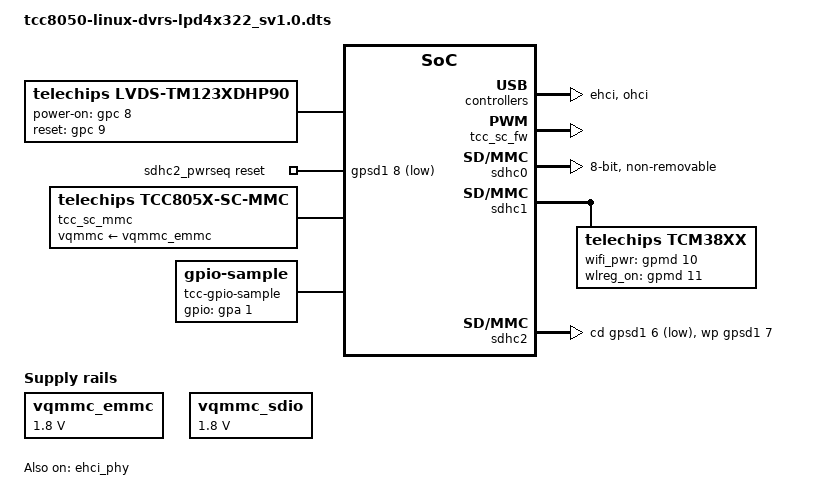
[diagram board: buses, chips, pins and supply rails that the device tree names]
// SPDX-License-Identifier: (GPL-2.0-or-later OR MIT)
/*
* Copyright (C) Telechips Inc.
* Device tree for Telechips TCC8050 DVRS board
*/

#ifndef DT_OVERLAY
/dts-v1/;
#endif

#include "tcc8050-linux-dvrs.dtsi"
#include "tcc8050-linux-avn-display.dtsi"

/ {
	/* Describe here after remove this statement if you have something to be override. */
	tm123xdhp90 {
		compatible = "telechips,lvds-tm123xdhp90";
		status = "okay";
		lvds0 = <&lvds_phy>;
		power-on-gpios = <&gpc 8 0>;   // LCD_ON
		reset-gpios = <&gpc 9 0>;    // LCD_RST
		/*
			 display-on-gpios = ;    // LCD_DISP
			 lvds-stby-gpios = ;   // LCD_DE = LVDS_STBY in LVDS
			 lvds-power-gpios = ;    // LVDS_EN
			 lvds-power-gpios1 = ;   // V_5V0_EN
		 */
		mode = <1>;   /* 0: single 1: dual */
		ports = <2 3>;
		mux_select = <2>; /*lcdc mux select */
	};

	vqmmc_emmc: vqmmc_emmc {
		compatible = "regulator-fixed";
		regulator-name = "vqmmc_emmc";
		regulator-min-microvolt = <1800000>;
		regulator-max-microvolt = <1800000>;
		regulator-always-on;
	};

	sdhc2_pwrseq: sdhc2_pwrseq {
		compatible = "mmc-pwrseq-simple";
		reset-gpios = <&gpsd1 8 GPIO_ACTIVE_LOW>;
	};

	vqmmc_sdio: vqmmc_sdio {
		compatible = "regulator-fixed";
		regulator-name = "vqmmc_sdio";
		regulator-min-microvolt = <1800000>;
		regulator-max-microvolt = <1800000>;
		regulator-always-on;
	};

        vioc_mgr@0 {
                status = "okay";
        };

	tcc_sc_mmc: tcc_sc_mmc {
		compatible = "telechips,tcc805x-sc-mmc";
		status = "okay";

		max-frequency = <200000000>;
		bus-width = <8>;

		sc-firmware = <&tcc_sc_fw>;

		no-sdio;
		no-sd;
		non-removable;
		keep-power-in-suspend;
		disable-wp;

		mmc-hs400-1_8v;
		vqmmc-supply = <&vqmmc_emmc>;
	};

	tcc_sc_ufs: tcc_sc_ufs {
		compatible = "telechips,tcc805x-sc-ufs";
		status = "okay";
		sc-firmware = <&tcc_sc_fw>;
	};

	wmixer_drv1: wmixer_drv@1 {
		rdmas = <&vioc_rdma VIOC_RDMA12 VIOC_RDMA13>;
		status = "okay";
	};

        tcc-gpio-sample {
                compatible = "gpio-sample";
                leble = "TCC GPIO";
                /*EDGE_RISING : 0, EDGE_FALLING : 1, EDGE_BOTH : 2,
                LEVEL_HIGH : 3, LEVEL_LOW : 4*/
                irq-type = <2>;
                gpios = <&gpa 1 0>;
        };


};

/* USB 2.0 Host */
&ehci_phy {
	status = "okay";
};

&ehci {
	status = "okay";
};

&ohci {
	status = "okay";
};

&a72_sc_mbox {
       status = "okay";
};

&tcc_sc_fw {
       status = "okay";
       mboxes = <&a72_sc_mbox 0>;
};

/* eMMC */
&sdhc0 {
	bus-width = <8>;
	pinctrl-names = "default";
	pinctrl-0 = <&sd0_clk &sd0_cmd &sd0_bus8 &sd0_strb>;

	sdhci-caps-mask = <0x7 0x0>;

	non-removable;
	keep-power-in-suspend;
	disable-wp;
	cap-mmc-hw-reset;

	mmc-hs400-1_8v;
	mmc-hs400-enhanced-strobe;
	tcc-mmc-taps = <0xF 0xF 0xF 0xF>;
	tcc-mmc-hs400-pos-tap = <0x6>;
	tcc-mmc-hs400-neg-tap = <0xB>;

	tcc-mmc-reset = <&gpsd0 14 0>;

	vqmmc-supply = <&vqmmc_emmc>;
};

&sd0_clk {
	telechips,no-pull;
};

&sd0_cmd {
	telechips,no-pull;
};

&sd0_bus8 {
	telechips,no-pull;
};

/* SDIO */
&sdhc1 {
	status = "okay";
	pinctrl-names = "default";
	pinctrl-0 = <&sd1_clk &sd1_cmd &sd1_bus4 &out0_clk>;

	keep-power-in-suspend;
	cap-sdio-irq;

	vqmmc-supply = <&vqmmc_sdio>;

	cd-force-presence-change;

	tcm38xx {
		compatible = "telechips,tcm38xx";
		wifi_pwr-gpio = <&gpmd 10 0>; /* BT_WIFI_VBAT_EN */
		wlreg_on-gpio = <&gpmd 11 0>; /* WIFI_REG_ON */
		//wifi_pwr_1p8v-gpio = <&gpsd1 6 0>;
		//wifi_pwr_3p3v-gpio = <&gpsd1 7 0>;
	};
};

&sd1_clk {
	telechips,pull-up;
};

&sd1_cmd {
	telechips,pull-up;
};

&sd1_bus4 {
	telechips,pull-up;
};

/* SD slot */
&sdhc2 {
#ifdef CONFIG_MMC_SDHCI_TCC_MODULE_ONLY
	/*
	 * In order to reduce boot time,
	 * we use the driver as module not built-in.
	 */
	compatible = "telechips,tcc805x-sdhci,module-only";
#endif
	status = "okay";
	pinctrl-names = "default";
	pinctrl-0 = <&sd2_clk &sd2_cmd &sd2_bus4 &sd1_bus4_wp_cd &sd1_pwr>;

	broken-cd;
	cd-inverted;
	keep-power-in-suspend;

	wp-gpios = <&gpsd1 7 0>;
	cd-gpios = <&gpsd1 6 0>;

	mmc-pwrseq = <&sdhc2_pwrseq>;
	vqmmc-supply = <&DA9062_LDO4>;
};

&sd2_clk {
	telechips,no-pull;
};

&sd2_cmd {
	telechips,no-pull;
};

&sd2_bus4 {
	telechips,no-pull;
};

&rotary_encoder0 {
	compatible = "rotary-encoder";
	status = "disable";                 //To use it, change the status from disable to okay
	//pinctrl-names = "default";
	//pinctrl-0 = <&mc_vol>;			//Set gpio to match device
										//Interruptable gpio should be used
	//gpios = <&gpma 5 1>, <&gpma 6 1>;	//Set gpio to match device
										//Interruptable gpio should be used
	linux,axis = <0>;
	rotary-encoder,relative-axis;
};

&rotary_encoder1 {
	compatible = "rotary-encoder";
	status = "disable";                 //To use it, change the status from disable to okay
	//pinctrl-names = "default";
	//pinctrl-0 = <&mc_ctr>;			//Set gpio to match device
										//Interruptable gpio should be used
	//gpios = <&gpma 7 1>, <&gpma 8 1>;	//Set gpio to match device
										//Interruptable gpio should be used
	linux,axis = <0>;
	rotary-encoder,relative-axis;
};
